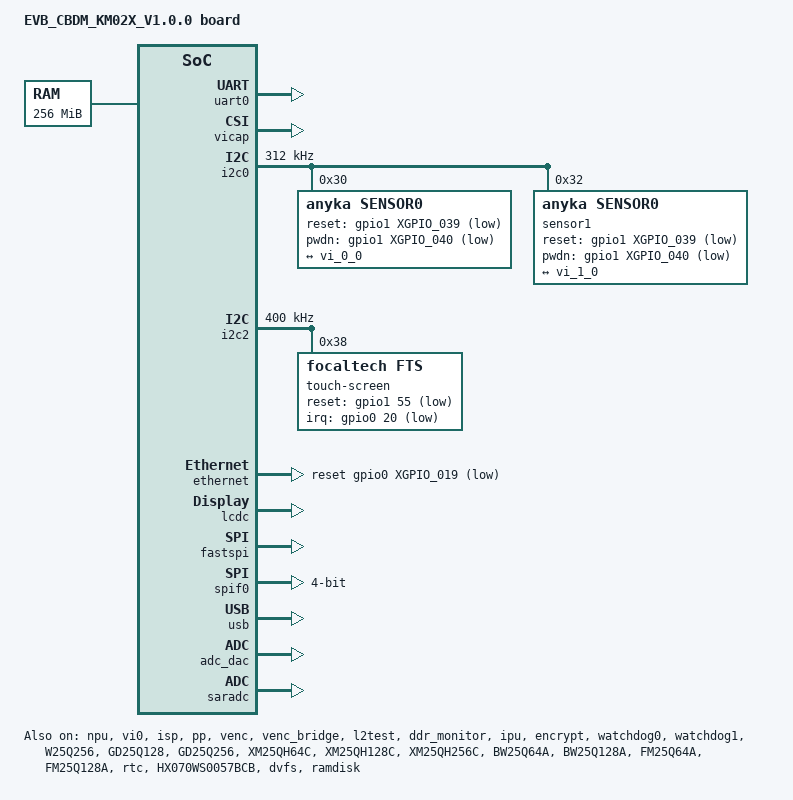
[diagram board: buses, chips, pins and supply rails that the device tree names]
// SPDX-License-Identifier: (GPL-2.0 OR MIT)
/* Copyright (c) 2020-2021 ANYKA, Inc */
#include "ak_km02-common.dtsi"
#include "ak_km02-norflash.dtsi"
#include "ak_lcd.dtsi"
#include "anycloud_ak3918av200_pinctrl.dtsi"
#define RESERVED_NPU_COMMNC_BASE      0x41400000
#define RESERVED_NPU_COMMNC_SIZE          0x8000 // 32KB
#define RESERVED_NPU_RUN_BASE         0x41408000
#define RESERVED_NPU_RUN_SIZE          0x2000000 // 16MB
#define RESERVED_ION_BASE             0x43408000
#define RESERVED_ION_SIZE              0x7000000 // 112MB
#define RESERVED_CMA_BASE             0x4a408000
#define RESERVED_CMA_SIZE               0x400000 // 4MB
//#define AK_PWR_CONSUMPTION_TEST
/* Clock frequency (in Hz) of the PCB crystal for rtcclk */
#define RTCCLK_FREQ		1000000
/ {
	#address-cells = <2>;
	#size-cells = <2>;
	model = "EVB_CBDM_KM02X_V1.0.0 board";
	compatible = "sifive,hifive-unleashed-a00", "sifive,fu540-c000";
	chosen {
		stdout-path = "serial0";
		bootargs = "console=ttySAK0,115200n8 root=/dev/mtdblock7 rootfstype=squashfs init=/sbin/init mtdparts=spi0.0:128K@0x0(SPL),128K@0x20000(OPENSBI),4K@0x40000(ENV),4K@0x41000(ENVBK),64K@0x42000(DTB),4436K@0x52000(KERNEL),300K@0x4a7000(LOGO),4096K@0x4f2000(ROOTFS),1024K@0x8f2000(CONFIG),22584K@0x9f2000(APP) mem=256M";
	};
	cpus {
		timebase-frequency = <RTCCLK_FREQ>;
	};
	memory@40000000 {
		device_type = "memory";
		reg =  <0x0 0x40000000 0x0 0x10000000>; /* 256M DDR Memory*/
	};
	soc {
	};
	hfclk: hfclk {
		#clock-cells = <0>;
		compatible = "fixed-clock";
		clock-frequency = <33333333>;
		clock-output-names = "hfclk";
	};
	rtcclk: rtcclk {
		#clock-cells = <0>;
		compatible = "fixed-clock";
		clock-frequency = <RTCCLK_FREQ>;
		clock-output-names = "rtcclk";
	};
	reserved-memory {
        #address-cells = <2>;
        #size-cells = <2>;
        ranges;
        npu_commnc_reserved: npu_commnc_reserved@RESERVED_NPU_COMMNC_BASE {
	        size = <RESERVED_NPU_COMMNC_SIZE>;
	        reg = <0x0 RESERVED_NPU_COMMNC_BASE 0x0 RESERVED_NPU_COMMNC_SIZE>;
	        status = "okay";
	    };
        npu_run_reserved: npu_run_reserved@RESERVED_NPU_RUN_BASE {
	        size = <RESERVED_NPU_RUN_SIZE>;
	        reg = <0x0 RESERVED_NPU_RUN_BASE 0x0 RESERVED_NPU_RUN_SIZE>;
	        status = "okay";
	    };
        carveout_reserved: carveout_reserved@RESERVED_ION_BASE {
            // compatible = "shared-dma-pool";
            // linux,cma-default;
            // reusable;
            size = <RESERVED_ION_SIZE>;
            reg = <0x0 RESERVED_ION_BASE 0x0 RESERVED_ION_SIZE>;
            status = "okay";
        };
        cma_reserved: cma_reserved@RESERVED_CMA_BASE {
	        size = <RESERVED_CMA_SIZE>;
	        reg = <0x0 RESERVED_CMA_BASE 0x0 RESERVED_CMA_SIZE>;
	        status = "okay";
	    };
        ramdisk_reserved: ramdisk_reserved@RESERVED_ION_BASE {
            /*compatible = "shared-dma-pool";*/
            /*linux,cma-default;*/
            /*reusable;*/
            size = <RESERVED_ION_SIZE>;
            reg = <0x0 RESERVED_ION_BASE 0x0 RESERVED_ION_SIZE>;
            status = "okay";
        };
	};
	ion {
		compatible = "anyka,ak3918av200-ion-reserve";
		#address-cells = <2>;
		#size-cells = <2>;
		memory-region = <&carveout_reserved>;
		ranges;
		ion_carveout_heap: ion_carveout_heap {
			base-address = <0x0 RESERVED_ION_BASE>;
			size = <0x0 RESERVED_ION_SIZE>;
			status = "okay";
		};
	};
	ramdisk:ramdisk@00000000{
		compatible = "anyka,ak3918av200-ramdisk";
		memory-region = <&ramdisk_reserved>;
		status = "okay";
	};
};
&pinctrl {
    //for uboot supports lcd display ,kernel don't reset GPIO clk domain
    no-reset-gpio-clk;
	/**
	* "anyka,function": func index, please refer to dt-bindings/pinctrl/ak3918av200_pinctrl.h
	* "anyka,pull": configuration of the pins
	* Driving selector:
	* 	GPIO[54:35]: only select DRIVE_SEL0~DRIVE_SEL3
	*	GPIO[54:35]: select DRIVE_SEL0~DRIVE_SEL7
	* Delay config:
	*	DELAY(x), x is delay time, level1 corresponds to 10ps
	*/
	ethernet_rmii_pins: ethernet_rmii_pins {
		anyka,pins = <	XGPIO_006
						XGPIO_002
						XGPIO_003
						XGPIO_000
						XGPIO_001
						XGPIO_009
						XGPIO_008
						XGPIO_007
						XGPIO_005
						XGPIO_004>;
		anyka,function = <	XGPIO_006_FUNC_RMII_OPCLK
							XGPIO_002_FUNC_RMII_RXER
							XGPIO_003_FUNC_RMII_RXDV
							XGPIO_000_FUNC_RMII_MDIO
							XGPIO_001_FUNC_RMII_MDC
							XGPIO_009_FUNC_RMII_TEEN
							XGPIO_008_FUNC_RMII_TXD1
							XGPIO_007_FUNC_RMII_TXD0
							XGPIO_005_FUNC_RMII_RXD1
							XGPIO_004_FUNC_RMII_RXD0>;
		anyka,pull = <	(INPUT_EN|SLEW_EN|DRIVE_SEL0)
						(INPUT_EN|SLEW_EN|PULL_DOWN|PULL_DOWN_EN|DRIVE_SEL0)
						(INPUT_EN|SLEW_EN|PULL_DOWN|PULL_DOWN_EN|DRIVE_SEL0)
						(INPUT_EN|SLEW_EN|PULL_UP|PULL_UP_EN|DRIVE_SEL0)
						(INPUT_EN|SLEW_EN|PULL_DOWN|PULL_DOWN_EN|DRIVE_SEL0)
						(INPUT_EN|SLEW_EN|PULL_DOWN|PULL_DOWN_EN|DRIVE_SEL0)
						(INPUT_EN|PULL_DOWN|PULL_DOWN_EN|DRIVE_SEL0)
						(INPUT_EN|PULL_DOWN|PULL_DOWN_EN|DRIVE_SEL0)
						(INPUT_EN|SLEW_EN|PULL_DOWN|PULL_DOWN_EN|DRIVE_SEL0)
						(INPUT_EN|SLEW_EN|PULL_DOWN|PULL_DOWN_EN|DRIVE_SEL0)>;
	};
	ethernet_rst_pins: ethernet_rst_pins {
		anyka,pins = <XGPIO_019>;
		anyka,function = <XGPIO_019_FUNC_GPIO19>;
		anyka,pull = <(PULL_UP|INPUT_EN|PULL_UP_EN)>;
	};
	mci1_pins: mci1_pins {
		anyka,pins = <XGPIO_027
						XGPIO_028
						XGPIO_029
						XGPIO_030
						XGPIO_031
						XGPIO_032>;
		anyka,function = <XGPIO_027_FUNC_SDIO0_DATA1
							XGPIO_028_FUNC_SDIO0_DATA0
							XGPIO_029_FUNC_SDIO0_CLK
							XGPIO_030_FUNC_SDIO0_CMD
							XGPIO_031_FUNC_SDIO0_DATA3
							XGPIO_032_FUNC_SDIO0_DATA2>;
		anyka,pull = <(INPUT_EN | PULL_UP | PULL_UP_EN)
						(INPUT_EN  | PULL_UP | PULL_UP_EN)
						(INPUT_EN | PULL_UP | PULL_UP_EN)
						(INPUT_EN | PULL_UP | PULL_UP_EN)
						(INPUT_EN | PULL_UP | PULL_UP_EN)
						(INPUT_EN | PULL_UP | PULL_UP_EN)>;
	};
	/*
	   when not use tf card, set to idle state,
	   to protect tf card and extend it's life.
	*/
	mci1_idle_pins: mci1_idle_pins {
		anyka,pins = <XGPIO_027
						XGPIO_028
						XGPIO_029
						XGPIO_030
						XGPIO_031
						XGPIO_032>;
		anyka,function = <XGPIO_027_FUNC_GPIO27
							XGPIO_028_FUNC_GPIO28
							XGPIO_029_FUNC_GPIO29
							XGPIO_030_FUNC_GPIO30
							XGPIO_031_FUNC_GPIO31
							XGPIO_032_FUNC_GPIO32>;
		anyka,pull = <0x0>;
	};
	tf_det_pins: tf_det_pins {
		anyka,pins = <XGPIO_055>;
		anyka,function = <XGPIO_055_FUNC_GPIO55>;
		anyka,pull = <(DIR_EN | DIR_INPUT | INPUT_EN | SLEW_EN | PULL_UP | PULL_UP_EN)>;
	};
	tf_en_pins: tf_en_pins {
		anyka,pins = <XGPIO_017>;
		anyka,function = <XGPIO_017_FUNC_GPIO17>;
		anyka,pull = <(DIR_EN | DIR_OUTPUT | OUTPUT_EN | SLEW_EN | PULL_UP | PULL_UP_EN | OUT_LOW)>;
	};
	/*
	   when not use tf card, set to idle state, the pin set to gpio function except mclk pin.
	   to protect tf card, extend it's life.
	*/
	mci1_idle_pins_clk: mci1_idle_pins_clk {
		anyka,pins = <XGPIO_027
						XGPIO_028
						XGPIO_029
						XGPIO_030
						XGPIO_031
						XGPIO_032>;
		anyka,function = <XGPIO_027_FUNC_GPIO27
							XGPIO_028_FUNC_GPIO28
							XGPIO_029_FUNC_SDIO0_CLK
							XGPIO_030_FUNC_GPIO30
							XGPIO_031_FUNC_GPIO31
							XGPIO_032_FUNC_GPIO32>;
		anyka,pull = <	(PULL_DOWN | PULL_DOWN_EN)
						(PULL_DOWN | PULL_DOWN_EN)
						(DIR_EN | INPUT_EN | PULL_UP | PULL_UP_EN) /* clk */
						(PULL_DOWN | PULL_DOWN_EN)
						(PULL_DOWN | PULL_DOWN_EN)
						(PULL_DOWN | PULL_DOWN_EN) >;
	};
	mci1_pins_d3_detect_mode: mci1_pins_d3_detect_mode {
		anyka,pins = <XGPIO_027
						XGPIO_028
						XGPIO_029
						XGPIO_030
						XGPIO_031
						XGPIO_032>;
		anyka,function = <XGPIO_027_FUNC_SDIO0_DATA1
							XGPIO_028_FUNC_SDIO0_DATA0
							XGPIO_029_FUNC_SDIO0_CLK
							XGPIO_030_FUNC_SDIO0_CMD
							XGPIO_031_FUNC_SDIO0_DATA3
							XGPIO_032_FUNC_SDIO0_DATA2>;
		anyka,pull = <	(INPUT_EN  | PULL_UP | PULL_UP_EN)
						(INPUT_EN  | PULL_UP | PULL_UP_EN)
						(INPUT_EN  | PULL_UP | PULL_UP_EN)
						(INPUT_EN  | PULL_UP | PULL_UP_EN)
						(INPUT_EN) /* disable pull down and pull up */
						(INPUT_EN  | PULL_UP | PULL_UP_EN)
						>;
	};
	/*
	   when not use tf card, set to idle state, the pin set to gpio function except dat3 pin.
	   to protect tf card, extend it's life.
	*/
	mci1_idle_pins_d3: mci1_idle_pins_d3 {
		anyka,pins = <XGPIO_027
						XGPIO_028
						XGPIO_029
						XGPIO_030
						XGPIO_031
						XGPIO_032>;
		anyka,function = <XGPIO_027_FUNC_GPIO27
							XGPIO_028_FUNC_GPIO28
							XGPIO_029_FUNC_GPIO29
							XGPIO_030_FUNC_GPIO30
							XGPIO_031_FUNC_SDIO0_DATA3
							XGPIO_032_FUNC_GPIO32>;
		anyka,pull = <	(PULL_DOWN | PULL_DOWN_EN)
						(PULL_DOWN | PULL_DOWN_EN)
						(PULL_DOWN | PULL_DOWN_EN)
						(PULL_DOWN | PULL_DOWN_EN)
						(INPUT_EN)	/* disable pull down and pull up */
						(PULL_DOWN | PULL_DOWN_EN) >;
	};
	mci2_pins: mci2_pins {
		anyka,pins = <XGPIO_079
					 XGPIO_080
					 XGPIO_081
					 XGPIO_082
					 XGPIO_083
					 XGPIO_084>;
		anyka,function = <	XGPIO_079_FUNC_SDIO1_DATA1
						XGPIO_080_FUNC_SDIO1_DATA0
						XGPIO_081_FUNC_SDIO1_CLK
						XGPIO_082_FUNC_SDIO1_CMD
						XGPIO_083_FUNC_SDIO1_DATA3
						XGPIO_084_FUNC_SDIO1_DATA2>;
		anyka,pull = <(INPUT_EN | PULL_UP | PULL_UP_EN)
						(INPUT_EN  | PULL_UP | PULL_UP_EN)
						(INPUT_EN | PULL_UP | PULL_UP_EN)
						(INPUT_EN | PULL_UP | PULL_UP_EN)
						(INPUT_EN | PULL_UP | PULL_UP_EN)
						(INPUT_EN | PULL_UP | PULL_UP_EN)>;
	};
	lcd_rgb_pins: lcd_rgb_pins {
		anyka,pins = <
                     XGPIO_057  //LCD_VOGATE
                     XGPIO_058  //LCD_VOVSYNC
                     XGPIO_059  //LCD_VOHSYNC
                     XGPIO_060  //LCD_PCLK
                     XGPIO_061  //LCD_D0
					 XGPIO_062   //LCD_D1
					 XGPIO_063   //LCD_D2
					 XGPIO_064   //LCD_D3
					 XGPIO_065   //LCD_D4
					 XGPIO_066   //LCD_D5
					 XGPIO_067   //LCD_D6
                     XGPIO_068   //LCD_D7
                     XGPIO_069   //LCD_D8
					 XGPIO_070   //LCD_D9
					 XGPIO_071   //LCD_D10
					 XGPIO_072   //LCD_D11
					 XGPIO_073   //LCD_D12
					 XGPIO_074   //LCD_D13
					 XGPIO_075   //LCD_D14
					 XGPIO_076   //LCD_D15
					 XGPIO_077   //LCD_D16
					 XGPIO_078   //LCD_D17
					 XGPIO_079   //LCD_D18
					 XGPIO_080   //LCD_D19
					 XGPIO_081   //LCD_D20
					 XGPIO_082   //LCD_D21
					 XGPIO_083   //LCD_D22
					 XGPIO_084 >;//LCD_D23
		anyka,function = <	
                        XGPIO_057_FUNC_RGB_VOGATE
						XGPIO_058_FUNC_RGB_VOVSYNC
						XGPIO_059_FUNC_RGB_VOHSYNC
						XGPIO_060_FUNC_RGB_VOPCLK
                        XGPIO_061_FUNC_RGB_D0
						XGPIO_062_FUNC_RGB_D1
						XGPIO_063_FUNC_RGB_D2
						XGPIO_064_FUNC_RGB_D3
						XGPIO_065_FUNC_RGB_D4
						XGPIO_066_FUNC_RGB_D5
						XGPIO_067_FUNC_RGB_D6
						XGPIO_068_FUNC_RGB_D7
						XGPIO_069_FUNC_RGB_D8
						XGPIO_070_FUNC_RGB_D9
						XGPIO_071_FUNC_RGB_D10
						XGPIO_072_FUNC_RGB_D11
						XGPIO_073_FUNC_RGB_D12
						XGPIO_074_FUNC_RGB_D13
						XGPIO_075_FUNC_RGB_D14
						XGPIO_076_FUNC_RGB_D15
						XGPIO_077_FUNC_RGB_D16
						XGPIO_078_FUNC_RGB_D17
						XGPIO_079_FUNC_RGB_D18
						XGPIO_080_FUNC_RGB_D19
						XGPIO_081_FUNC_RGB_D20
						XGPIO_082_FUNC_RGB_D21
						XGPIO_083_FUNC_RGB_D22
						XGPIO_084_FUNC_RGB_D23 >;
		anyka,pull = <  (SLEW_EN|PULL_UP|PUPD_EN|DRIVE_SEL4)
                        (SLEW_EN|PULL_UP|PUPD_EN|DRIVE_SEL4)
                        (SLEW_EN|PULL_UP|PUPD_EN|DRIVE_SEL4)
                        (SLEW_EN|PULL_UP|PUPD_EN|DRIVE_SEL6)
                        (SLEW_EN|PULL_UP|PUPD_EN|DRIVE_SEL4)
                        (SLEW_EN|PULL_UP|PUPD_EN|DRIVE_SEL4)
                        (SLEW_EN|PULL_UP|PUPD_EN|DRIVE_SEL4)
                        (SLEW_EN|PULL_UP|PUPD_EN|DRIVE_SEL4)
                        (SLEW_EN|PULL_UP|PUPD_EN|DRIVE_SEL4)
                        (SLEW_EN|PULL_UP|PUPD_EN|DRIVE_SEL4)
                        (SLEW_EN|PULL_UP|PUPD_EN|DRIVE_SEL4)
                        (SLEW_EN|PULL_UP|PUPD_EN|DRIVE_SEL4)
                        (SLEW_EN|PULL_UP|PUPD_EN|DRIVE_SEL4)
                        (SLEW_EN|PULL_UP|PUPD_EN|DRIVE_SEL4)
                        (SLEW_EN|PULL_UP|PUPD_EN|DRIVE_SEL4)
                        (SLEW_EN|PULL_UP|PUPD_EN|DRIVE_SEL4)
                        (SLEW_EN|PULL_UP|PUPD_EN|DRIVE_SEL4)
                        (SLEW_EN|PULL_UP|PUPD_EN|DRIVE_SEL4)
                        (SLEW_EN|PULL_UP|PUPD_EN|DRIVE_SEL4)
                        (SLEW_EN|PULL_UP|PUPD_EN|DRIVE_SEL4)
                        (SLEW_EN|PULL_UP|PUPD_EN|DRIVE_SEL4)
                        (SLEW_EN|PULL_UP|PUPD_EN|DRIVE_SEL4)
                        (SLEW_EN|PULL_UP|PUPD_EN|DRIVE_SEL4)
                        (SLEW_EN|PULL_UP|PUPD_EN|DRIVE_SEL4)
                        (SLEW_EN|PULL_UP|PUPD_EN|DRIVE_SEL4)
                        (SLEW_EN|PULL_UP|PUPD_EN|DRIVE_SEL4)
                        (SLEW_EN|PULL_UP|PUPD_EN|DRIVE_SEL4)
                        (SLEW_EN|PULL_UP|PUPD_EN|DRIVE_SEL4) >;
	};
	lcd_8bit_mpu_pins: lcd_8bit_mpu_pins {
		anyka,pins = <
                     XGPIO_057  //LCD_MPU_RD
                     XGPIO_058  //LCD_MPU_A0
                     XGPIO_059  //LCD_MPU_CS
                     XGPIO_060  //LCD_MPU_WR
                     XGPIO_061  //LCD_D0
					 XGPIO_062   //LCD_D1
					 XGPIO_063   //LCD_D2
					 XGPIO_064   //LCD_D3
					 XGPIO_065   //LCD_D4
					 XGPIO_066   //LCD_D5
					 XGPIO_067   //LCD_D6
                     XGPIO_068 >;   //LCD_D7
		anyka,function = <
                        XGPIO_057_FUNC_MPU_RD_N
						XGPIO_058_FUNC_MPU_A0
						XGPIO_059_FUNC_MPU_CS_N
						XGPIO_060_FUNC_MPU_WR_N
                        XGPIO_061_FUNC_MPU_D0
						XGPIO_062_FUNC_MPU_D1
						XGPIO_063_FUNC_MPU_D2
						XGPIO_064_FUNC_MPU_D3
						XGPIO_065_FUNC_MPU_D4
						XGPIO_066_FUNC_MPU_D5
						XGPIO_067_FUNC_MPU_D6
						XGPIO_068_FUNC_MPU_D7 >;
		anyka,pull = <  (INPUT_EN|PULL_UP|PUPD_EN|DRIVE_SEL0)
                        (INPUT_EN|PULL_UP|PUPD_EN|DRIVE_SEL0)
                        (INPUT_EN|PULL_UP|PUPD_EN|DRIVE_SEL0)
                        (INPUT_EN|PULL_UP|PUPD_EN|DRIVE_SEL0)
                        (INPUT_EN|PULL_UP|PUPD_EN|DRIVE_SEL0)
                        (INPUT_EN|PULL_UP|PUPD_EN|DRIVE_SEL0)
                        (INPUT_EN|PULL_UP|PUPD_EN|DRIVE_SEL0)
                        (INPUT_EN|PULL_UP|PUPD_EN|DRIVE_SEL0)
                        (INPUT_EN|PULL_UP|PUPD_EN|DRIVE_SEL0)
                        (INPUT_EN|PULL_UP|PUPD_EN|DRIVE_SEL0)
                        (INPUT_EN|PULL_UP|PUPD_EN|DRIVE_SEL0)
                        (INPUT_EN|PULL_UP|PUPD_EN|DRIVE_SEL0) >;
	};
	lcd_16bit_mpu_pins: lcd_16bit_mpu_pins {
		anyka,pins = <
                     XGPIO_057  //LCD_VOGATE
                     XGPIO_058  //LCD_VOVSYNC
                     XGPIO_059  //LCD_VOHSYNC
                     XGPIO_060  //LCD_PCLK
                     XGPIO_061  //LCD_D0
					 XGPIO_062   //LCD_D1
					 XGPIO_063   //LCD_D2
					 XGPIO_064   //LCD_D3
					 XGPIO_065   //LCD_D4
					 XGPIO_066   //LCD_D5
					 XGPIO_067   //LCD_D6
                     XGPIO_068   //LCD_D7
                     XGPIO_069   //LCD_D8
					 XGPIO_070   //LCD_D9
					 XGPIO_071   //LCD_D10
					 XGPIO_072   //LCD_D11
					 XGPIO_073   //LCD_D12
					 XGPIO_074   //LCD_D13
					 XGPIO_075   //LCD_D14
					 XGPIO_076   //LCD_D15
                     >;
		anyka,function = <
                        XGPIO_057_FUNC_MPU_RD_N
						XGPIO_058_FUNC_MPU_A0
						XGPIO_059_FUNC_MPU_CS_N
						XGPIO_060_FUNC_MPU_WR_N
                        XGPIO_061_FUNC_MPU_D0
						XGPIO_062_FUNC_MPU_D1
						XGPIO_063_FUNC_MPU_D2
						XGPIO_064_FUNC_MPU_D3
						XGPIO_065_FUNC_MPU_D4
						XGPIO_066_FUNC_MPU_D5
						XGPIO_067_FUNC_MPU_D6
						XGPIO_068_FUNC_MPU_D7
						XGPIO_069_FUNC_MPU_D8
						XGPIO_070_FUNC_MPU_D9
						XGPIO_071_FUNC_MPU_D10
						XGPIO_072_FUNC_MPU_D11
						XGPIO_073_FUNC_MPU_D12
						XGPIO_074_FUNC_MPU_D13
						XGPIO_075_FUNC_MPU_D14
						XGPIO_076_FUNC_MPU_D15
                        >;
		anyka,pull = <  (INPUT_EN|PULL_UP|PUPD_EN|DRIVE_SEL0)
                        (INPUT_EN|PULL_UP|PUPD_EN|DRIVE_SEL0)
                        (INPUT_EN|PULL_UP|PUPD_EN|DRIVE_SEL0)
                        (INPUT_EN|PULL_UP|PUPD_EN|DRIVE_SEL0)
                        (INPUT_EN|PULL_UP|PUPD_EN|DRIVE_SEL0)
                        (INPUT_EN|PULL_UP|PUPD_EN|DRIVE_SEL0)
                        (INPUT_EN|PULL_UP|PUPD_EN|DRIVE_SEL0)
                        (INPUT_EN|PULL_UP|PUPD_EN|DRIVE_SEL0)
                        (INPUT_EN|PULL_UP|PUPD_EN|DRIVE_SEL0)
                        (INPUT_EN|PULL_UP|PUPD_EN|DRIVE_SEL0)
                        (INPUT_EN|PULL_UP|PUPD_EN|DRIVE_SEL0)
                        (INPUT_EN|PULL_UP|PUPD_EN|DRIVE_SEL0)
                        (INPUT_EN|PULL_UP|PUPD_EN|DRIVE_SEL0)
                        (INPUT_EN|PULL_UP|PUPD_EN|DRIVE_SEL0)
                        (INPUT_EN|PULL_UP|PUPD_EN|DRIVE_SEL0)
                        (INPUT_EN|PULL_UP|PUPD_EN|DRIVE_SEL0)
                        (INPUT_EN|PULL_UP|PUPD_EN|DRIVE_SEL0)
                        (INPUT_EN|PULL_UP|PUPD_EN|DRIVE_SEL0)
                        (INPUT_EN|PULL_UP|PUPD_EN|DRIVE_SEL0)
                        (INPUT_EN|PULL_UP|PUPD_EN|DRIVE_SEL0) >;
	};
	lcd_rgb_pins_sleep: lcd_rgb_pins_sleep {
		anyka,pins = <
                     XGPIO_057  //LCD_VOGATE
                     XGPIO_058  //LCD_VOVSYNC
                     XGPIO_059  //LCD_VOHSYNC
                     XGPIO_060  //LCD_PCLK
                     XGPIO_061  //LCD_D0
					 XGPIO_062   //LCD_D1
					 XGPIO_063   //LCD_D2
					 XGPIO_064   //LCD_D3
					 XGPIO_065   //LCD_D4
					 XGPIO_066   //LCD_D5
					 XGPIO_067   //LCD_D6
                     XGPIO_068   //LCD_D7
                     XGPIO_069   //LCD_D8
					 XGPIO_070   //LCD_D9
					 XGPIO_071   //LCD_D10
					 XGPIO_072   //LCD_D11
					 XGPIO_073   //LCD_D12
					 XGPIO_074   //LCD_D13
					 XGPIO_075   //LCD_D14
					 XGPIO_076   //LCD_D15
					 XGPIO_077   //LCD_D16
					 XGPIO_078   //LCD_D17
					 XGPIO_079   //LCD_D18
					 XGPIO_080   //LCD_D19
					 XGPIO_081   //LCD_D20
					 XGPIO_082   //LCD_D21
					 XGPIO_083   //LCD_D22
					 XGPIO_084 >;//LCD_D23
		anyka,function = <	
                        XGPIO_057_FUNC_GPIO57
						XGPIO_058_FUNC_GPIO58
						XGPIO_059_FUNC_GPIO59
						XGPIO_060_FUNC_GPIO60
                        XGPIO_061_FUNC_GPIO61
						XGPIO_062_FUNC_GPIO62
						XGPIO_063_FUNC_GPIO63
						XGPIO_064_FUNC_GPIO64
						XGPIO_065_FUNC_GPIO65
						XGPIO_066_FUNC_GPIO66
						XGPIO_067_FUNC_GPIO67
						XGPIO_068_FUNC_GPIO68
						XGPIO_069_FUNC_GPIO69
						XGPIO_070_FUNC_GPIO70
						XGPIO_071_FUNC_GPIO71
						XGPIO_072_FUNC_GPIO72
						XGPIO_073_FUNC_GPIO73
						XGPIO_074_FUNC_GPIO74
						XGPIO_075_FUNC_GPIO75
						XGPIO_076_FUNC_GPIO76
						XGPIO_077_FUNC_GPIO77
						XGPIO_078_FUNC_GPIO78
						XGPIO_079_FUNC_GPIO79
						XGPIO_080_FUNC_GPIO80
						XGPIO_081_FUNC_GPIO81
						XGPIO_082_FUNC_GPIO82
						XGPIO_083_FUNC_GPIO83
						XGPIO_084_FUNC_GPIO84 >;
		anyka,pull = <0>;
	};
	lcd_reset_pins: lcd_reset_pins {
		anyka,pins = <XGPIO_027>;
		anyka,function = <XGPIO_027_FUNC_GPIO27>;
		anyka,pull = <0>;
	};
	lcd_power_pins: lcd_power_pins {
		anyka,pins = <XGPIO_029>;
		anyka,function = <XGPIO_029_FUNC_GPIO29>;
		anyka,pull = <0x0>;
	};
	lcd_backlight_pins: lcd_backlight_pins {
		anyka,pins = <XGPIO_028>;
		anyka,function = <XGPIO_028_FUNC_GPIO28>;
		anyka,pull = <0x0>;
	};
	mci2_idle_pins: mci2_idle_pins {
		anyka,pins = <	XGPIO_079
					XGPIO_080
					XGPIO_081
					XGPIO_082
					XGPIO_083
					XGPIO_084>;
		anyka,function = <	XGPIO_079_FUNC_GPIO79
							XGPIO_080_FUNC_GPIO80
							XGPIO_081_FUNC_GPIO81
							XGPIO_082_FUNC_GPIO82
							XGPIO_083_FUNC_GPIO83
							XGPIO_084_FUNC_GPIO84>;
		anyka,pull = <0x0>;
	};
	wifi_en_pins: wifi_en_pins {
		anyka,pins = <XGPIO_077>;
		anyka,function = <XGPIO_077_FUNC_GPIO77>;
		anyka,pull = <(DIR_EN | DIR_OUTPUT | OUTPUT_EN | SLEW_EN | PULL_UP | PULL_UP_EN | OUT_HIGH)>;
	};
	wifi_rst_pins: wifi_rst_pins {
		anyka,pins = <XGPIO_078>;
		anyka,function = <XGPIO_078_FUNC_GPIO78>;
		anyka,pull = <(DIR_EN | DIR_OUTPUT | OUTPUT_EN | SLEW_EN | PULL_UP | PULL_UP_EN | OUT_HIGH)>;
	};
	mipi0_4lane_pins: mipi0_4lane_pins {
		anyka,pins = <	XGPIO_041
						XGPIO_042
						XGPIO_043
						XGPIO_044
						XGPIO_045
						XGPIO_046
						XGPIO_047
						XGPIO_048
						XGPIO_049
						XGPIO_050
						XGPIO_051
						XGPIO_052 >;
		anyka,function = <	XGPIO_041_FUNC_MIPI_RX_L0P
							XGPIO_042_FUNC_MIPI_RX_L0N
							XGPIO_043_FUNC_MIPI_RX_L1P
							XGPIO_044_FUNC_MIPI_RX_L1N
							XGPIO_045_FUNC_MIPI_RX_L2P
							XGPIO_046_FUNC_MIPI_RX_L2N
							XGPIO_047_FUNC_MIPI_RX_L3P
							XGPIO_048_FUNC_MIPI_RX_L3N
							XGPIO_049_FUNC_MIPI_RX_L4P
							XGPIO_050_FUNC_MIPI_RX_L4N
							XGPIO_051_FUNC_MIPI_RX_L5P
							XGPIO_052_FUNC_MIPI_RX_L5N	>;
		anyka,pull = <0>;
	};
	mipi0_3lane_pins: mipi0_3lane_pins {
		anyka,pins = <	XGPIO_041
						XGPIO_042
						XGPIO_043
						XGPIO_044
						XGPIO_045
						XGPIO_046
						XGPIO_047
						XGPIO_048
						XGPIO_049
						XGPIO_050
						XGPIO_051
						XGPIO_052 >;
		anyka,function = <	XGPIO_041_FUNC_MIPI_RX_L0P
							XGPIO_042_FUNC_MIPI_RX_L0N
							XGPIO_043_FUNC_MIPI_RX_L1P
							XGPIO_044_FUNC_MIPI_RX_L1N
							XGPIO_045_FUNC_MIPI_RX_L2P
							XGPIO_046_FUNC_MIPI_RX_L2N
							XGPIO_047_FUNC_MIPI_RX_L3P
							XGPIO_048_FUNC_MIPI_RX_L3N
							XGPIO_049_FUNC_MIPI_RX_L4P
							XGPIO_050_FUNC_MIPI_RX_L4N
							XGPIO_051_FUNC_MIPI_RX_L5P
							XGPIO_052_FUNC_MIPI_RX_L5N	>;
		anyka,pull = <0>;
	};
	mipi0_2lane_pins: mipi0_2lane_pins {
		anyka,pins = <	XGPIO_041
						XGPIO_042
						XGPIO_043
						XGPIO_044
						XGPIO_045
						XGPIO_046 >;
		anyka,function = <	XGPIO_041_FUNC_MIPI_RX_L0P
							XGPIO_042_FUNC_MIPI_RX_L0N
							XGPIO_043_FUNC_MIPI_RX_L1P
							XGPIO_044_FUNC_MIPI_RX_L1N
							XGPIO_045_FUNC_MIPI_RX_L2P
							XGPIO_046_FUNC_MIPI_RX_L2N >;
		anyka,pull = <0>;
	};
	mipi0_1lane_pins: mipi0_1lane_pins {
		anyka,pins = <	XGPIO_041
						XGPIO_042
						XGPIO_043
						XGPIO_044
						XGPIO_045
						XGPIO_046 >;
		anyka,function = <	XGPIO_041_FUNC_MIPI_RX_L0P
							XGPIO_042_FUNC_MIPI_RX_L0N
							XGPIO_043_FUNC_MIPI_RX_L1P
							XGPIO_044_FUNC_MIPI_RX_L1N
							XGPIO_045_FUNC_MIPI_RX_L2P
							XGPIO_046_FUNC_MIPI_RX_L2N >;
		anyka,pull = <0>;
	};
	csi0_sclk_pin: csi0_sclk_pin {
		anyka,pins = <	XGPIO_037 >;
		anyka,function = <	XGPIO_037_FUNC_CSI0_SCLK >;
		anyka,pull = <0>;
	};
    
    csi1_sclk_pin: csi1_sclk_pin {
        anyka,pins = <  XGPIO_038 >;
        anyka,function = <  XGPIO_038_FUNC_CSI1_SCLK >;
        anyka,pull = <0>;
    };
    pwm_csi_pins: pwm_csi_pins {
        anyka,pins = < XGPIO_053
                        XGPIO_054 >;
        anyka,function = < XGPIO_053_FUNC_PWM_CSI0
                            XGPIO_054_FUNC_PWM_CSI1 >;
        anyka,pull = <0>;
    };
    i2c1_pins: i2c1_pins {
        anyka,pins = <XGPIO_084 XGPIO_083>;
        anyka,function = <XGPIO_084_FUNC_I2C1_SDA XGPIO_083_FUNC_I2C1_SCL>;
        anyka,pull = <(PULL_UP|INPUT_EN|SLEW_EN|HOLD_EN|DRIVE_SEL0)>;
    };
	motor0_pins: motor0_pins {
		anyka,pins = <XGPIO_027 XGPIO_028 XGPIO_029 XGPIO_030>;
		anyka,function = <0>;
		anyka,pull = <PULL_UP>;
	};
	motor1_pins: motor1_pins {
		anyka,pins = <XGPIO_021 XGPIO_022 XGPIO_023 XGPIO_024>;
		anyka,function = <0>;
		anyka,pull = <PULL_UP>;
	};
    gt9xx_pins: gt9xx_pins {
        anyka,pins = <XGPIO_026 XGPIO_090>;
        anyka,function = <XGPIO_026_FUNC_GPIO26 XGPIO_090_FUNC_GPIO90>;
        anyka,pull = <(PULL_UP|INPUT_EN|DRIVE_SEL0)>;
    };
    i2c3_pins: i2c3_pins {
        anyka,pins = <XGPIO_032 XGPIO_031>;
        anyka,function = <XGPIO_032_FUNC_I2C3_SDA XGPIO_031_FUNC_I2C3_SCL>;
        anyka,pull = <(PULL_UP|INPUT_EN|SLEW_EN|HOLD_EN|DRIVE_SEL0)>;
    };

    i2c2_pins: i2c2_pins {
        anyka,pins = <XGPIO_017 XGPIO_018>;
        anyka,function = <XGPIO_017_FUNC_I2C2_SCL XGPIO_018_FUNC_I2C2_SDA>;
        anyka,pull = <(PULL_UP|INPUT_EN|SLEW_EN|HOLD_EN|DRIVE_SEL0)>;
    };

    fts_pins: fts_pins {
        anyka,pins = <XGPIO_020 XGPIO_055>;
        anyka,function = <XGPIO_020_FUNC_GPIO20 XGPIO_055_FUNC_GPIO55>;
        anyka,pull = <(PULL_UP|INPUT_EN|DRIVE_SEL0)>;
    };
};
&uart0 {
	pinctrl-names = "default";
	pinctrl-0 = <&uart0_pins>;
	status = "okay";
};
&uart1 {
	status = "disable";
};
&npu {
	status = "okay";
};
&vi0{
    clocks =
        /* isp & vpp &vin */
        <&factor_pll3_clk PLL3_FACTOR_ISP>,
        <&factor_pll3_clk PLL3_FACTOR_PP>,
        <&factor_pll3_clk PLL3_FACTOR_VICAP>,
        <&factor_pll3_clk PLL3_FACTOR_ISS>,
        /* sclk */
        <&factor_osc24 OSC24_FACTOR_CSI0_SCLK>,
        <&factor_osc24 OSC24_FACTOR_CSI1_SCLK>,
        /* mipi dphy cfgclk */
        <&factor_pll3_clk PLL3_FACTOR_MIPI_DPHY>;
    clock-names =
        /* isp & vpp &vin */
        "isp_clk",
        "vpp_clk",
        "vin_clk",
        "iss_clk",
        /* sclk */
        "csi0_sclk",
        "csi1_sclk",
        /* mipi dphy cfgclk */
        "mipi_dphy_cfgclk";
    pinctrl-names =
        "mipi0_4lane",
        "mipi0_3lane",
        "mipi0_2lane",
        "mipi0_1lane",
        "csi0_sclk",
        "csi1_sclk";
    pinctrl-0 = <&mipi0_4lane_pins>;
    pinctrl-1 = <&mipi0_3lane_pins>;
    pinctrl-2 = <&mipi0_2lane_pins>;
    pinctrl-3 = <&mipi0_1lane_pins>;
    pinctrl-4 = <&csi0_sclk_pin>;
    pinctrl-5 = <&csi1_sclk_pin>;
	csi_mipi_lane_swap = <
		SENSOR_D0	//L0
		SENSOR_C0	//L1
		SENSOR_D1	//L2
		SENSOR_D2	//L3
		SENSOR_D3	//L4
		SENSOR_C1	//L5
		>;//MIPI_RX_L0~5.
	csi_mipi_dndp_swap = <
		MIPI_DNDP_NOSWAP	//L0
		MIPI_DNDP_NOSWAP	//L1
		MIPI_DNDP_NOSWAP	//L2
		MIPI_DNDP_NOSWAP	//L3
		MIPI_DNDP_NOSWAP	//L4
		MIPI_DNDP_NOSWAP	//L5
	>;//MIPI_RX_L0~5. 0: noswap; others: swap
    status = "okay";
	ports {
		#address-cells = <1>;
		#size-cells = <0>;
		port@0 {
			#address-cells = <1>;
			#size-cells = <0>;
			reg = <0>;
			vi_0_0: endpoint@0 {
				reg = <0>;
				remote-endpoint = <&sensor0_0>;
			};
		};
		port@1 {
			#address-cells = <1>;
			#size-cells = <0>;
			reg = <1>;
			vi_1_0: endpoint@0 {
				reg = <0>;
				remote-endpoint = <&sensor1_0>;
			};
		};
	};
};
&isp {
    status = "okay";
};
&vicap {
    pinctrl-0 = <&pwm_csi_pins>;
    pinctrl-names = "pwm_csi";
    status = "okay";
};
&pp {
    status = "okay";
};
&i2c0 {
    pinctrl-names = "default";
    pinctrl-0 = <&i2c0_pins>;
    
    clock-frequency = <312000>;
    status = "okay";
	#address-cells = <1>;
	#size-cells = <0>;
    
	sensor0: camera@0x30{
		compatible = "anyka,sensor0";
		reg = <0x30>;
		/*0xffff means the gpio is invalid*/
		reset-gpio = <&gpio1 XGPIO_039 1>;
		pwdn-gpio = <&gpio1 XGPIO_040 1>;
//		reset-gpio = <&gpio1 7 1>;
//		pwdn-gpio = <&gpio1 8 1>;
		port {
			sensor0_0: endpoint@0 {
				remote-endpoint = <&vi_0_0>;
			};
		};
	};
	sensor1: camera@0x32{
		compatible = "anyka,sensor0";
		reg = <0x32>;
		/*0xffff means the gpio is invalid*/
		reset-gpio = <&gpio1 XGPIO_039 1>;
		pwdn-gpio = <&gpio1 XGPIO_040 1>;
//		reset-gpio = <&gpio1 7 1>;
//		pwdn-gpio = <&gpio1 8 1>;
		port {
			sensor1_0: endpoint@0 {
				remote-endpoint = <&vi_1_0>;
			};
		};
	};
};
#ifdef AK_PWR_CONSUMPTION_TEST
&i2c1 {
    pinctrl-names = "default";
    pinctrl-0 = <&i2c1_pins>;
    clock-frequency = <312000>;
    status = "disable";
    ina2xx_0: ina220@0x42{
    compatible = "anyka,sensor0_ina2xx";
    reg = <0x42>;
    };
    ina2xx_1: ina220@0x4a{
    compatible = "anyka,sensor1_ina2xx";
    reg = <0x4a>;
    };
    ina2xx_2: ina220@0x40{
    compatible = "anyka,sensor2_ina2xx";
    reg = <0x40>;
    };
    ina2xx_3: ina220@0x48{
    compatible = "anyka,sensor3_ina2xx";
    reg = <0x48>;
    };
};
#else
&i2c1 {
    pinctrl-names = "default";
    pinctrl-0 = <&i2c1_pins>;
    clock-frequency = <312000>;
    status = "disable";
};
#endif
/*
  开发板的核心板引用i2c2，
  需修改硬件选择i2c
*/
&i2c2 {
    pinctrl-names = "default";
    pinctrl-0 = <&i2c2_pins>;
    clock-frequency = <400000>;
    status = "okay";

    touch-screen@38 {
        compatible = "focaltech,fts";
        reg = <0x38>;
        pinctrl-names = "default";
        pinctrl-0 = <&fts_pins>;

        focaltech,panel-type = <0x54260002>;
        focaltech,max-touch-number = <1>;
        focaltech,display-coords = <0 0 1024 600>;
        //focaltech,swap-xy;
		revert_x; 
		revert_y;
        focaltech,reset-gpio = <&gpio1 55 GPIO_ACTIVE_LOW>;
        focaltech,irq-gpio = <&gpio0 20 GPIO_ACTIVE_LOW>;

        status = "okay";
    };
};

&i2c3 {
    pinctrl-names = "default";
    pinctrl-0 = <&i2c3_pins>;
    clock-frequency = <400000>;
    status = "disable";

    touch-screen@38 {
        compatible = "focaltech,fts";
        reg = <0x38>;
        pinctrl-names = "default";
        pinctrl-0 = <&fts_pins>;
        focaltech,panel-type = <0x54260002>;
        focaltech,max-touch-number = <1>;
        focaltech,display-coords = <0 0 1024 600>;
        //focaltech,swap-xy;
        focaltech,reset-gpio = <&gpio1 55 GPIO_ACTIVE_LOW>;
        focaltech,irq-gpio = <&gpio0 30 GPIO_ACTIVE_LOW>;

/*
        focaltech,have-key;
        focaltech,key-number = <3>;
        focaltech,keys = <139 102 158>;
        focaltech,key-y-coord = <2000>;
        focaltech,key-x-coords = <200 600 800>;
*/
        status = "okay";
    };
    touch-screen@14 {
        compatible = "anyka,ak37e-i2c-touchscreen-gt911";
        reg = <0x14>;
        pinctrl-names = "default";
        pinctrl-0 = <&gt9xx_pins>;
        irq-gpio = <&gpio2 90 GPIO_ACTIVE_LOW>;
        reset-gpio = <&gpio0 26 GPIO_ACTIVE_LOW>;
        touchscreen-max-id = <16>;
        touchscreen-size-x = <1024>;
        touchscreen-size-y = <600>;
        goodix,swap-x2y = <1>;
        goodix,int-sync = <1>;
        status = "disable";
#if 0
        goodix,auto-update = <1>;
        goodix,auto-update-cfg = <1>;
#endif
        goodix,driver-send-cfg = <1>;
        goodix,cfg-group0 = [
            41 00 04 58 02 05 05 00 01 08 28 
            05 50 32 03 05 00 00 00 00 00 00
            00 00 00 00 00 8D 2D 0E 2A 2C 31
            0D 00 00 01 BA 03 24 00 00 00 00
            00 03 00 00 00 00 00 0F 41 94 D5
            02 07 00 00 04 9B 11 00 77 17 00
            5C 1F 00 48 2A 00 3B 38 00 3B 00
            00 00 00 00 00 00 00 00 00 00 00
            00 00 00 00 00 00 00 00 00 00 00
            00 00 00 00 00 00 00 00 00 00 00
            00 00 02 04 06 08 0A 0C 0E 10 12
            14 16 18 1A 1C FF FF FF FF FF FF
            FF FF FF FF FF FF FF FF FF FF 00
            02 04 06 08 0A 0C 0F 10 12 13 14
            16 18 1C 1D 1E 1F 20 21 22 24 26
            28 29 2A FF FF FF FF FF FF FF FF
            FF FF FF FF FF FF FF FF BB 01
        ];
    };
};
&venc {
    status = "okay";
};
&venc_bridge{
     status = "okay";
};
&l2test{
	status = "okay";
};
&ddr_monitor{
	status = "okay";
};
&ethernet {
    pinctrl-names = "default";
    pinctrl-0 = <&ethernet_rmii_pins &ethernet_rst_pins>;
    reset-gpios = <&gpio0 XGPIO_019 1>;
    phy-address = <1>;
    status = "okay";
};
&lcdc {
    pinctrl-names = "default","8bit-mpu","16bit-mpu","sleep";
    pinctrl-0 = <&lcd_rgb_pins &lcd_reset_pins &lcd_power_pins &lcd_backlight_pins>;
    pinctrl-1 = <&lcd_8bit_mpu_pins  &lcd_reset_pins &lcd_power_pins  &lcd_backlight_pins>;
    pinctrl-2 = <&lcd_16bit_mpu_pins  &lcd_reset_pins &lcd_power_pins  &lcd_backlight_pins>;
    pinctrl-2 = <&lcd_rgb_pins_sleep &lcd_reset_pins &lcd_power_pins &lcd_backlight_pins>;
    reset-pins = <&gpio0 27 GPIO_ACTIVE_LOW>;
    pwr-gpio = <&gpio0 29 GPIO_ACTIVE_HIGH>;
    backlight-gpio = <&gpio0 28 GPIO_ACTIVE_HIGH>;
    //set to resolution ratio
    lcd-logo-width = <1024>; //note that need set equal to panel-width at present
    lcd-logo-height = <600>;//note that need set equal to panel-height at present
    //[fmt1:fmt0] 00 16bits input(RGB565 or BGR565)
    //[fmt1:fmt0] 01 24bits input(RGB888 or BGR888)
    //[fmt1:fmt0] 10 or 11 32bits input(ARGB888 ABGR888 RGBA888 BGRA888)
    lcd-logo-fmt0 = <1>;
    lcd-logo-fmt1 = <0>;
    lcd-logo-rgb-seq = <1>; //0 for BGR, 1 for RGB
    lcd-fb-type = <1>; //0:single buffer; 1:double buffer
    status = "okay";
};
&ipu {
    clock-frequency = <450000000>;
    status = "okay";
};
&encrypt {
    status = "okay";
};
&fastspi {
    pinctrl-names = "default";
    //pinctrl-0 = <&spiflash_pins &spi_nand_flash_cs_pins>;
    pinctrl-0 = <&spiflash_pins>;
    spi-bus-frequency = <100000000>;
    /*
     * cap-spi-highspeed;
     * if defined, means high speed controller(Maximum 100M/s);
     * if not, means normal speed controller(below 50M/s)
     */
    cap-spi-highspeed;
    status = "okay";
};
&watchdog0 {
    status = "okay";
};
&watchdog1 {
    status = "okay";
};
// nor-flash
&spif0 {
    /* spi flash data bus width:
    ** 1 means 1 wire mode.
    ** 2 means 2 wire mode
    ** 4 means 4 wire mode.
    ** default: 4 wire mode.
    **/
    bus-width = <4>;
    status = "okay";
};
&spi0 {
    pinctrl-names = "default";
    pinctrl-0 = <&spi0_pins>;
    spi-bus-frequency = <50000000>;
    status = "disable";
    spidev0: spidev@0 {
        compatible = "rohm,dh2228fv";
        reg = <0>; // Chip select
        spi-max-frequency = <50000000>;
        status = "okay";
    };
};
&W25Q256{
    status = "okay";
};
&GD25Q128{
    status = "okay";
};
&GD25Q256{
    status = "okay";
};
&XM25QH64C{
    status = "okay";
};
&XM25QH128C{
    status = "okay";
};
&XM25QH256C{
    status = "okay";
};
&BW25Q64A{
    status = "okay";
};
&BW25Q128A{
    status = "okay";
};
&FM25Q64A{
    status = "okay";
};
&FM25Q128A{
    status = "okay";
};
/*
&mmc1 {
    bus-width = <0x4>;
    max-frequency = <25000000>;
    detect-gpio = <&gpio1 XGPIO_055 1>; 
    cap-sd-highspeed;
    pinctrl-names = "default","idle";
    pinctrl-0 = <&mci1_pins>,<&tf_en_pins>,<&tf_det_pins>;
    pinctrl-1 = <&mci1_idle_pins>; 
    power-pins = <&gpio0 XGPIO_017 1>; 
    power-inverted;
    status = "okay"; 
};
*/
/*
&mmc1 {
    bus-width = <0x4>;
    max-frequency = <25000000>;
    cd_clk;
    cap-sd-highspeed;
    pinctrl-names = "default","idle";
    pinctrl-0 = <&mci1_pins>,<&tf_en_pins>;
    pinctrl-1 = <&mci1_idle_pins_clk>;
    power-pins = <&gpio0 XGPIO_017 1>;
    power-inverted;
    status = "okay"; 
};
*/
&mmc1 {
    bus-width = <0x4>;
    max-frequency = <25000000>;
    cd_d3;
    cap-sd-highspeed;
    pinctrl-names = "default","idle";
    pinctrl-0 = <&mci1_pins_d3_detect_mode>,<&tf_en_pins>;
    pinctrl-1 = <&mci1_idle_pins_d3>; 
    power-pins = <&gpio0 XGPIO_017 1>; 
    power-inverted;
    status = "disable"; 
};
&mmc2 {
    bus-width = <0x4>;
    max-frequency = <50000000>;
    non-removable;
    cap-sd-highspeed;
    /* if support sdio, using cap-sdio-irq*/
    cap-sdio-irq;
    pinctrl-names = "default","idle";
    pinctrl-0 = <&mci2_pins>,<&wifi_en_pins>,<&wifi_rst_pins>;
    pinctrl-1 = <&mci2_idle_pins>;
    power-pins = <&gpio2 XGPIO_077 1>;   //power-pins is which wifi_en_pins describes
    rst-pins =   <&gpio2 XGPIO_078 1>;    //rst-pins is which wifi_rst_pins describes
    status = "disable"; 
};
&usb {
    status = "okay";
};
&adc_dac {
    pinctrl-names = "default";
    // only ADC:
    //   pinctrl-0 = <&speaker_en_pins>;
    // PDM or ADC + PDM
    pinctrl-0 = <&speaker_en_pins>,<&pdm_pins>;
    // pinctrl-0 = <&speaker_en_pins>;

    speak-gpios = <&gpio0 XGPIO_010 1>;
    /*
    * The level of speak-gpios votage for power on audio: 0=low, 1=high
    */
    speak-gpios-en = <1>;
    // only ADC Left MIC:
    // mic-info = <MIC_INFO_ADC_MIC0>;
    // only ADC Right MIC:
    // mic-info = <MIC_INFO_ADC_MIC1>;
    // ADC 2 MIC:
    // mic-info = <(MIC_INFO_ADC_MIC0|MIC_INFO_ADC_MIC1)>;
    // PDM 2 MIC:
    mic-info = <(MIC_INFO_PDM0|MIC_INFO_PDM1)>;
    // PDM 4 MIC:
    // mic-info = <(MIC_INFO_PDM0|MIC_INFO_PDM1|MIC_INFO_PDM2|MIC_INFO_PDM3)>;
    // mic-info = <MIC_INFO_ADC_MIC0>;
    spk-info = <SPK_INFO_DAC_HPOUT>;
    status = "okay";
    dev0 {
        snd-dev = <SND_CARD_DAC_PLAYBACK>;
        snd-type = <AK_PCM_DEV_PLAYBACK>;
    };
    dev1 {
        snd-dev = <SND_CARD_ADC_CAPTURE>;
        snd-type = <AK_PCM_DEV_CAPTURE>;
        mic_gain = <0x505>;
    };
    dev2 {
        snd-dev = <SND_CARD_DAC_LOOPBACK>;
        snd-type = <AK_PCM_DEV_LOOPBACK>;
    };
    // PDM device file
    dev3 {
        snd-dev = <SND_CARD_PDM_RECV>;
        snd-type = <AK_PCM_DEV_CAPTURE>;
    };
};
&saradc{
	pinctrl-names = "default";
	//pinctrl-0 = <&saradc_ain1_pins>;
	/* SAR ADC VREF selection
	* 0:To select AVCC 1.8V as VREF for SAR ADC.
	* 1:To select 1.6V generated from BGR as VREF for SAR ADC.
	*/
	vref-select = <0>;
	/*
	* 0:To disable BAT voltage divider.
	* 1:To enable BAT voltage divider divided by 4.
	*/
	battery-divider = <1>;
	/*
	* Sampling number
	* Read the sampling data for N times and then calculate the average value.
	* N ranges from 1 to 7.
	*/
	sampling-num = <3>;
	status = "okay";
};
&adkeys {
    /*
    * poll interval: ms
    * debounce interval: ms
    */
    interval = <120>;
    debounce_interval = <20>;
    /*
    * if pressed-input = 0, input 0 when key is pressed, else input 1.
    */
    pressed-input = <0>;
    status = "okay";
    addet0 {
        unpress_min = <0>;
        unpress_max = <1800>;
        adc_index = <1>;
        adc_channel = <0>;
        key1 {
            linux,code = <102>; /*HOME*/
            min = <0>;
            max = <50>;
        };
        key2 {
            linux,code = <103>; /*UP*/
            min = <300>;
            max = <350>;
        };
        key3 {
            linux,code = <108>; /*DOWN*/
            min = <600>;
            max = <650>;
        };
        key4 {
            linux,code = <105>; /*LEFT*/
            min = <1100>;
            max = <1200>;
        };
        key5 {
            linux,code = <106>; /*RIGHT*/
            min = <850>;
            max = <950>;
        };
        key6 {
            linux,code = <28>; /*OK*/
            min = <1400>;
            max = <1450>;
        };
        key7 {
            linux,code = <158>; /*RETURN*/
            min = <1650>;
            max = <1750>;
        };
    };
};
&gpiokeys {
	#address-cells = <1>;
	#size-cells = <0>;
	pinctrl-0 = <&gpiokey_pins>;
	pinctrl-names = "default";
	status = "okay";
	config {
		label = "config_key";
		gpios = <&gpio0 XGPIO_018 GPIO_ACTIVE_HIGH>;
		linux,code = <116>;
		debounce-interval = <100>;
	};
};
&leds {
	pinctrl-names = "default";
	pinctrl-0 = <&infrared_led_pins>,<&state_led_pins>;
	status = "disable";
	ir_led {
		label = "irled";
		gpios = <&gpio0 XGPIO_020 GPIO_ACTIVE_HIGH>;
	};
	state_led {
		label = "state_led";
		gpios = <&gpio2 XGPIO_075 GPIO_ACTIVE_HIGH>;
	};
};
&motor0 {
	/*
	 * part-number: part name
	 * pwm-tbl-cw: pwm table int clkwise
	 * pwm-pins: gpio list to motor
	 * steps-one-circle: total steps one circle (360degree)
	 *
	 * total-steps:	total steps the motor can run
	 * boundary-steps: reserve some step for each boudary
	 * attach-timer: timer for the motor
	 *					NOTE: different motor attach different timer
	 *
	 * speed-step: speed in step
	 */
	pinctrl-names = "default";
	pinctrl-0 = <&motor0_pins>;
	part-number = "HZF-24BYJ48";
	pwm-tbl-cw = <0x09 0x01 0x03 0x02 0x06 0x04 0x0c 0x08>;
	pwm-pins = <XGPIO_027 XGPIO_028 XGPIO_029 XGPIO_030>;//借用了t卡的引脚，注意冲突
	steps-one-circle = <4096>;
	total-steps = <2500>;
	boundary-steps = <50>;
	attach-timer = <1>; //devmem 0x80000c8
	speed-step = <200>;
	status = "disable";
};
&motor1 {
	/*
	 * part-number: part name
	 * pwm-tbl-cw: pwm table int clkwise
	 * pwm-pins: gpio list to motor
	 * steps-one-circle: total steps one circle (360degree)
	 *
	 * total-steps:	total steps the motor can run
	 * boundary-steps: reserve some step for each boudary
	 * attach-timer: timer for the motor
	 *					NOTE: different motor attach different timer
	 *
	 * speed-step: speed in step
	 */
	pinctrl-names = "default";
	pinctrl-0 = <&motor1_pins>;
	part-number = "HZF-24BYJ48";
	pwm-tbl-cw = <0x09 0x01 0x03 0x02 0x06 0x04 0x0c 0x08>;
	pwm-pins = <XGPIO_029 XGPIO_030 XGPIO_031 XGPIO_032>;
	steps-one-circle = <4096>;
	total-steps = <600>;
	boundary-steps = <50>;
	attach-timer = <2>;
	speed-step = <200>;
	status = "disable";
};
&rtc {
	status = "okay";
};
&pwm5 {
	pinctrl-names = "default";
	pinctrl-0 = <&pwm5_pins>;
	period-ns = <500>;
	duty-ns = <100>;
	pwm-enable = <1>;
	status = "disable";
};
&HT070GB {
    panel-pclk-rate = <50000000>;
    status = "disable";
};
&HX070WS0057BCB {
    panel-pclk-rate = <50000000>;
    status = "okay";
};
&ESHX035WQ00 {
    panel-pclk-rate = <30000000>;
    status = "disable";
};
&TFT035F014 {
    panel-pclk-rate = <30000000>;
    status = "disable";
};
&dvfs {
    attach-timer = <2>;
    status = "okay";
};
